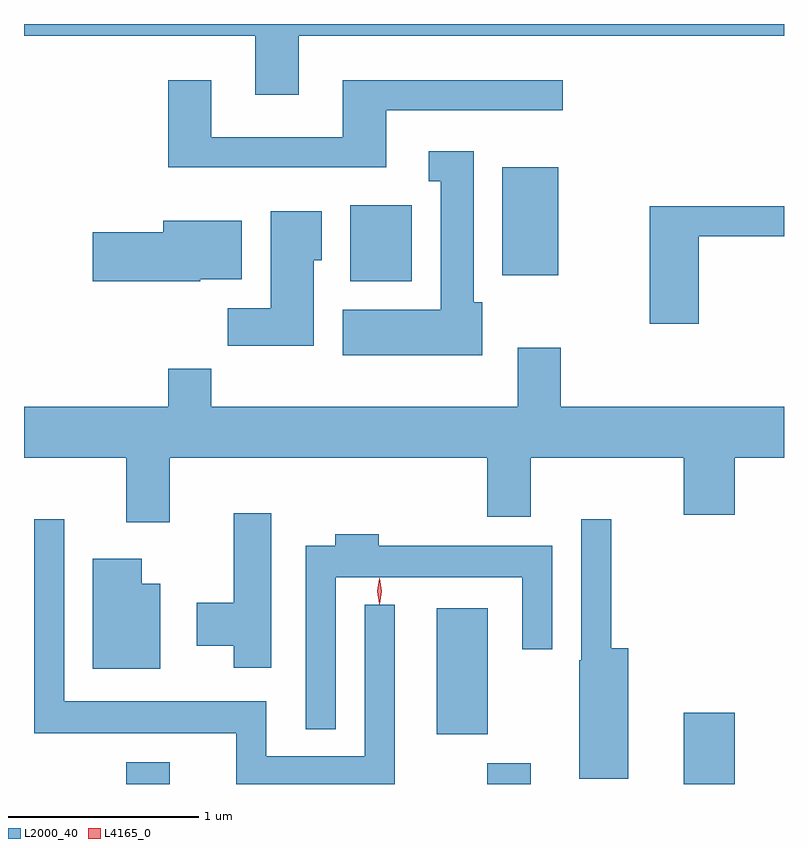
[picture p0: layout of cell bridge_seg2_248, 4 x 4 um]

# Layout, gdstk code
import gdstk
lib = gdstk.Library(unit=1e-6, precision=1e-09)
def R(c, l, rs):  # rectangles x0, y0, x1, y1
    for r in rs: c.add(gdstk.rectangle(r[:2], r[2:], *l))
def P(c, l, *ps):  # polygons
    for p in ps: c.add(gdstk.Polygon(p, *l))
L2000_40 = (2000, 40)
L4165_0 = (4165, 0)

bridge_seg2_248 = lib.new_cell('bridge_seg2_248')
R(bridge_seg2_248, L2000_40, [(631.721,1071.019,631.949,1071.134), (633.621,1071.019,633.849,1071.129), (634.656,1071.019,634.924,1071.394), (633.356,1071.281,633.624,1071.944), (632.901,1073.666,633.224,1074.064), (633.701,1073.696,633.994,1074.264)])
P(bridge_seg2_248, L2000_40, [(632.629,1074.956),(635.183,1074.956),(635.183,1075.019),(631.183,1075.019),(631.183,1074.956),(632.401,1074.956),(632.401,1074.646),(632.629,1074.646)],
  [(633.089,1074.566),(634.018,1074.566),(634.018,1074.724),(632.861,1074.724),(632.861,1074.424),(632.169,1074.424),(632.169,1074.724),(631.941,1074.724),(631.941,1074.266),(633.089,1074.266)],
  [(633.594,1073.554),(633.549,1073.554),(633.549,1074.349),(633.313,1074.349),(633.313,1074.191),(633.376,1074.191),(633.376,1073.514),(632.861,1073.514),(632.861,1073.276),(633.594,1073.276)],
  [(634.734,1073.901),(635.183,1073.901),(635.183,1074.059),(634.476,1074.059),(634.476,1073.441),(634.734,1073.441)],
  [(632.709,1073.776),(632.749,1073.776),(632.749,1074.034),(632.481,1074.034),(632.481,1073.524),(632.256,1073.524),(632.256,1073.326),(632.709,1073.326)],
  [(632.11,1073.676),(632.329,1073.676),(632.329,1073.984),(631.916,1073.984),(631.916,1073.924),(631.546,1073.924),(631.546,1073.666),(632.11,1073.666)],
  [(631.949,1072.736),(633.621,1072.736),(633.621,1072.426),(633.849,1072.426),(633.849,1072.736),(634.656,1072.736),(634.656,1072.436),(634.924,1072.436),(634.924,1072.736),(635.183,1072.736),(635.183,1073.004),(634.009,1073.004),(634.009,1073.314),(633.781,1073.314),(633.781,1073.004),(632.169,1073.004),(632.169,1073.204),(631.941,1073.204),(631.941,1073.004),(631.183,1073.004),(631.183,1072.736),(631.721,1072.736),(631.721,1072.396),(631.949,1072.396)],
  [(632.484,1072.444),(632.286,1072.444),(632.286,1071.974),(632.091,1071.974),(632.091,1071.746),(632.286,1071.746),(632.286,1071.631),(632.484,1071.631)],
  [(633.134,1071.963),(632.976,1071.963),(632.976,1071.164),(632.459,1071.164),(632.459,1071.454),(631.394,1071.454),(631.394,1072.413),(631.236,1072.413),(631.236,1071.286),(632.301,1071.286),(632.301,1071.019),(633.134,1071.019)],
  [(634.364,1071.734),(634.274,1071.734),(634.274,1072.413),(634.116,1072.413),(634.116,1071.67),(634.106,1071.67),(634.106,1071.046),(634.364,1071.046)],
  [(632.824,1072.106),(633.806,1072.106),(633.806,1071.728),(633.964,1071.728),(633.964,1072.274),(633.049,1072.274),(633.049,1072.334),(632.821,1072.334),(632.821,1072.274),(632.666,1072.274),(632.666,1071.308),(632.824,1071.308)],
  [(631.899,1072.074),(631.804,1072.074),(631.804,1072.204),(631.546,1072.204),(631.546,1071.626),(631.899,1071.626)])
P(bridge_seg2_248, L4165_0, [(633.054,1071.964),(633.045,1072.033),(633.054,1072.102),(633.055,1072.103),(633.055,1072.102),(633.065,1072.033),(633.055,1071.964),(633.055,1071.964)],
  [(633.053,1071.967),(633.053,1071.967),(633.043,1072.034),(633.053,1072.1),(633.053,1072.101),(633.054,1072.1),(633.063,1072.034),(633.054,1071.967)])

lib.write_gds('bridge_seg2_248.gds')
